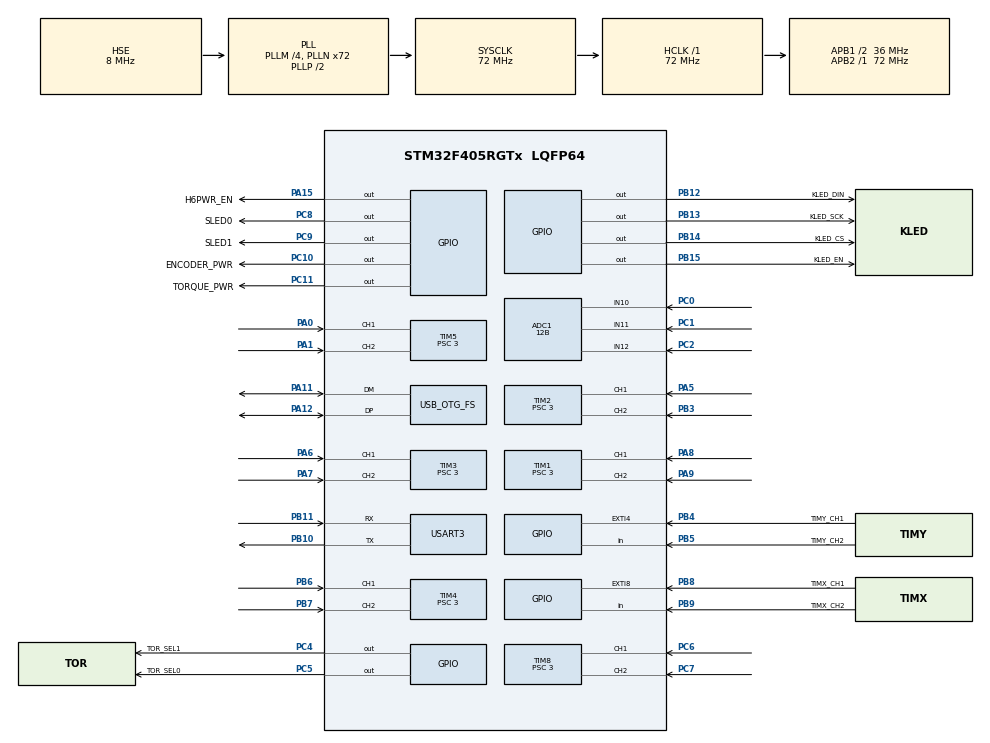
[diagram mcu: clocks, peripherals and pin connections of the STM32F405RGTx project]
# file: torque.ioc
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ADC1.Channel-0\#ChannelRegularConversion=ADC_CHANNEL_10
ADC1.Channel-1\#ChannelRegularConversion=ADC_CHANNEL_11
ADC1.Channel-2\#ChannelRegularConversion=ADC_CHANNEL_12
ADC1.ClockPrescaler=ADC_CLOCK_SYNC_PCLK_DIV4
ADC1.ContinuousConvMode=DISABLE
ADC1.DMAContinuousRequests=DISABLE
ADC1.DataAlign=ADC_DATAALIGN_RIGHT
ADC1.DiscontinuousConvMode=ENABLE
ADC1.EOCSelection=ADC_EOC_SINGLE_CONV
ADC1.EnableAnalogWatchDog=false
ADC1.ExternalTrigConv=ADC_SOFTWARE_START
ADC1.ExternalTrigConvEdge=ADC_EXTERNALTRIGCONVEDGE_NONE
ADC1.InjNumberOfConversion=0
ADC1.NbrOfConversion=3
ADC1.NbrOfConversionFlag=1
ADC1.NbrOfDiscConversion=1
ADC1.Rank-0\#ChannelRegularConversion=1
ADC1.Rank-1\#ChannelRegularConversion=2
ADC1.Rank-2\#ChannelRegularConversion=3
ADC1.Resolution=ADC_RESOLUTION_12B
ADC1.SamplingTime-0\#ChannelRegularConversion=ADC_SAMPLETIME_28CYCLES
ADC1.SamplingTime-1\#ChannelRegularConversion=ADC_SAMPLETIME_28CYCLES
ADC1.SamplingTime-2\#ChannelRegularConversion=ADC_SAMPLETIME_28CYCLES
ADC1.ScanConvMode=ENABLE
ADC1.master=1
IWDG.Prescaler=IWDG_PRESCALER_16
Mcu.Family=STM32F4
Mcu.Name=STM32F405RGTx
Mcu.Package=LQFP64
NVIC.EXTI4_IRQn=true\:0\:0\:false\:false\:true\:true
NVIC.EXTI9_5_IRQn=true\:0\:0\:false\:false\:true\:true
NVIC.PriorityGroup=NVIC_PRIORITYGROUP_2
NVIC.TIM6_DAC_IRQn=true\:1\:0\:true\:false\:true\:true
NVIC.TIM7_IRQn=true\:1\:0\:true\:false\:true\:true
NVIC.USART3_IRQn=true\:0\:0\:false\:false\:true\:true
PA0-WKUP.Signal=S_TIM5_CH1
PA1.Signal=S_TIM5_CH2
PA11.Mode=Device_Only
PA11.Signal=USB_OTG_FS_DM
PA12.Mode=Device_Only
PA12.Signal=USB_OTG_FS_DP
PA13.Mode=Serial_Wire
PA13.Signal=SYS_JTMS-SWDIO
PA14.Mode=Serial_Wire
PA14.Signal=SYS_JTCK-SWCLK
PA15.GPIO_Label=H6PWR_EN
PA15.Signal=GPIO_Output
PA5.Signal=S_TIM2_CH1_ETR
PA6.Signal=S_TIM3_CH1
PA7.Signal=S_TIM3_CH2
PA8.Signal=S_TIM1_CH1
PA9.Signal=S_TIM1_CH2
PB10.Mode=Asynchronous
PB10.Signal=USART3_TX
PB11.Mode=Asynchronous
PB11.Signal=USART3_RX
PB12.GPIO_Label=KLED_DIN
PB12.Signal=GPIO_Output
PB13.GPIO_Label=KLED_SCK
PB13.Signal=GPIO_Output
PB14.GPIO_Label=KLED_CS
PB14.Signal=GPIO_Output
PB15.GPIO_Label=KLED_EN
PB15.Signal=GPIO_Output
PB3.Signal=S_TIM2_CH2
PB4.GPIO_Label=TIMY_CH1
PB4.Signal=GPXTI4
PB5.GPIO_Label=TIMY_CH2
PB5.Signal=GPIO_Input
PB6.Signal=S_TIM4_CH1
PB7.Signal=S_TIM4_CH2
PB8.GPIO_Label=TIMX_CH1
PB8.Signal=GPXTI8
PB9.GPIO_Label=TIMX_CH2
PB9.Signal=GPIO_Input
PC0.Signal=ADCx_IN10
PC1.Signal=ADCx_IN11
PC10.GPIO_Label=ENCODER_PWR
PC10.Signal=GPIO_Output
PC11.GPIO_Label=TORQUE_PWR
PC11.Signal=GPIO_Output
PC2.Signal=ADCx_IN12
PC4.GPIO_Label=TOR_SEL1
PC4.GPIO_Speed=GPIO_SPEED_FREQ_HIGH
PC4.Signal=GPIO_Output
PC5.GPIO_Label=TOR_SEL0
PC5.GPIO_Speed=GPIO_SPEED_FREQ_HIGH
PC5.Signal=GPIO_Output
PC6.Signal=S_TIM8_CH1
PC7.Signal=S_TIM8_CH2
PC8.GPIO_Label=SLED0
PC8.Signal=GPIO_Output
PC9.GPIO_Label=SLED1
PC9.Signal=GPIO_Output
PH0-OSC_IN.Mode=HSE-External-Oscillator
PH0-OSC_IN.Signal=RCC_OSC_IN
PH1-OSC_OUT.Mode=HSE-External-Oscillator
PH1-OSC_OUT.Signal=RCC_OSC_OUT
ProjectManager.HeapSize=0x200
ProjectManager.StackSize=0x400
ProjectManager.TargetToolchain=MDK-ARM V5
RCC.48MHZClocksFreq_Value=48000000
RCC.AHBFreq_Value=72000000
RCC.APB1CLKDivider=RCC_HCLK_DIV2
RCC.APB1Freq_Value=36000000
RCC.APB1TimFreq_Value=72000000
RCC.APB2Freq_Value=72000000
RCC.APB2TimFreq_Value=72000000
RCC.CortexFreq_Value=72000000
RCC.HCLKFreq_Value=72000000
RCC.HSE_VALUE=8000000
RCC.HSI_VALUE=16000000
RCC.LSE_VALUE=32768
RCC.PLLM=4
RCC.PLLN=72
RCC.PLLQ=3
RCC.SYSCLKFreq_VALUE=72000000
RCC.SYSCLKSource=RCC_SYSCLKSOURCE_PLLCLK
RCC.VCOOutputFreq_Value=144000000
SH.ADCx_IN10.0=ADC1_IN10,IN10
SH.ADCx_IN11.0=ADC1_IN11,IN11
SH.ADCx_IN12.0=ADC1_IN12,IN12
SH.S_TIM1_CH1.0=TIM1_CH1,Encoder_Interface
SH.S_TIM1_CH2.0=TIM1_CH2,Encoder_Interface
SH.S_TIM2_CH1_ETR.0=TIM2_CH1,Encoder_Interface
SH.S_TIM2_CH2.0=TIM2_CH2,Encoder_Interface
SH.S_TIM3_CH1.0=TIM3_CH1,Encoder_Interface
SH.S_TIM3_CH2.0=TIM3_CH2,Encoder_Interface
SH.S_TIM4_CH1.0=TIM4_CH1,Encoder_Interface
SH.S_TIM4_CH2.0=TIM4_CH2,Encoder_Interface
SH.S_TIM5_CH1.0=TIM5_CH1,Encoder_Interface
SH.S_TIM5_CH2.0=TIM5_CH2,Encoder_Interface
SH.S_TIM8_CH1.0=TIM8_CH1,Encoder_Interface
SH.S_TIM8_CH2.0=TIM8_CH2,Encoder_Interface
TIM1.EncoderMode=TIM_ENCODERMODE_TI12
TIM1.IC1Filter=10
TIM1.IC2Filter=10
TIM1.Period=65535
TIM1.Prescaler=3
TIM2.EncoderMode=TIM_ENCODERMODE_TI12
TIM2.IC1Filter=10
TIM2.IC2Filter=10
TIM2.Period=65535
TIM2.Prescaler=3
TIM3.EncoderMode=TIM_ENCODERMODE_TI12
TIM3.IC1Filter=10
TIM3.IC2Filter=10
TIM3.Period=65535
TIM3.Prescaler=3
TIM4.EncoderMode=TIM_ENCODERMODE_TI12
TIM4.IC1Filter=10
TIM4.IC2Filter=10
TIM4.Period=65535
TIM4.Prescaler=3
TIM5.EncoderMode=TIM_ENCODERMODE_TI12
TIM5.IC1Filter=10
TIM5.IC2Filter=10
TIM5.Period=65535
TIM5.Prescaler=3
TIM6.Period=10000-1
TIM6.Prescaler=7200-1
TIM7.Period=10000-1
TIM7.Prescaler=7200-1
TIM8.EncoderMode=TIM_ENCODERMODE_TI12
TIM8.IC1Filter=10
TIM8.IC2Filter=10
TIM8.Period=65535
TIM8.Prescaler=3
USART3.VirtualMode=VM_ASYNC
USB_OTG_FS.VirtualMode=Device_Only
VP_IWDG_VS_IWDG.Mode=IWDG_Activate
VP_TIM6_VS_ClockSourceINT.Mode=Enable_Timer
VP_TIM7_VS_ClockSourceINT.Mode=Enable_Timer
board=torque

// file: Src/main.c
/**
  ******************************************************************************
  * File Name          : main.c
  * Description        : Main program body
  ******************************************************************************
  ** This notice applies to any and all portions of this file
  * that are not between comment pairs USER CODE BEGIN and
  * USER CODE END. Other portions of this file, whether
  * inserted by the user or by software development tools
  * are owned by their respective copyright owners.
  *
  * COPYRIGHT(c) 2019 STMicroelectronics
  *
  * Redistribution and use in source and binary forms, with or without modification,
  * are permitted provided that the following conditions are met:
  *   1. Redistributions of source code must retain the above copyright notice,
  *      this list of conditions and the following disclaimer.
  *   2. Redistributions in binary form must reproduce the above copyright notice,
  *      this list of conditions and the following disclaimer in the documentation
  *      and/or other materials provided with the distribution.
  *   3. Neither the name of STMicroelectronics nor the names of its contributors
  *      may be used to endorse or promote products derived from this software
  *      without specific prior written permission.
  *
  * THIS SOFTWARE IS PROVIDED BY THE COPYRIGHT HOLDERS AND CONTRIBUTORS "AS IS"
  * AND ANY EXPRESS OR IMPLIED WARRANTIES, INCLUDING, BUT NOT LIMITED TO, THE
  * IMPLIED WARRANTIES OF MERCHANTABILITY AND FITNESS FOR A PARTICULAR PURPOSE ARE
  * DISCLAIMED. IN NO EVENT SHALL THE COPYRIGHT HOLDER OR CONTRIBUTORS BE LIABLE
  * FOR ANY DIRECT, INDIRECT, INCIDENTAL, SPECIAL, EXEMPLARY, OR CONSEQUENTIAL
  * DAMAGES (INCLUDING, BUT NOT LIMITED TO, PROCUREMENT OF SUBSTITUTE GOODS OR
  * SERVICES; LOSS OF USE, DATA, OR PROFITS; OR BUSINESS INTERRUPTION) HOWEVER
  * CAUSED AND ON ANY THEORY OF LIABILITY, WHETHER IN CONTRACT, STRICT LIABILITY,
  * OR TORT (INCLUDING NEGLIGENCE OR OTHERWISE) ARISING IN ANY WAY OUT OF THE USE
  * OF THIS SOFTWARE, EVEN IF ADVISED OF THE POSSIBILITY OF SUCH DAMAGE.
  *
  ******************************************************************************
  */

#include "main.h"
#include "stm32f4xx_hal.h"

/* USER CODE BEGIN Includes */
#include "crc.h"
/* USER CODE END Includes */

ADC_HandleTypeDef hadc1;

IWDG_HandleTypeDef hiwdg;

TIM_HandleTypeDef htim1;
TIM_HandleTypeDef htim2;
TIM_HandleTypeDef htim3;
TIM_HandleTypeDef htim4;
TIM_HandleTypeDef htim5;
TIM_HandleTypeDef htim6;
TIM_HandleTypeDef htim7;
TIM_HandleTypeDef htim8;

UART_HandleTypeDef huart3;

PCD_HandleTypeDef hpcd_USB_OTG_FS;

/* USER CODE BEGIN PV */
/* Private variables ---------------------------------------------------------*/
struct TorqueSensor Sensor[8];

uint16_t FrequencyEncoder=1;  //单位Hz
uint16_t FrequencyTorque=10;		//单位Hz

unsigned char RsPoint_USART3=0;	//数据计数
unsigned char RsBuf_USART3[64];  //接收缓冲区
unsigned char Received_USART3=0;      //接收标志

uint16_t CrcCode;

uint32_t a,b;

uint16_t	IndexEncoder=0;
uint16_t  IndexTorque=0;

/* USER CODE END PV */

void SystemClock_Config(void);
static void MX_GPIO_Init(void);
static void MX_ADC1_Init(void);
static void MX_USB_OTG_FS_PCD_Init(void);
static void MX_TIM4_Init(void);
static void MX_TIM8_Init(void);
static void MX_TIM6_Init(void);
static void MX_TIM7_Init(void);
static void MX_USART3_UART_Init(void);
static void MX_TIM1_Init(void);
static void MX_TIM2_Init(void);
static void MX_TIM3_Init(void);
static void MX_TIM5_Init(void);
static void MX_IWDG_Init(void);

/* USER CODE BEGIN PFP */
/* Private function prototypes -----------------------------------------------*/

/* USER CODE END PFP */

int main(void)
{

  /* MCU Configuration----------------------------------------------------------*/

  /* Reset of all peripherals, Initializes the Flash interface and the Systick. */
  HAL_Init();

  /* Configure the system clock */
  SystemClock_Config();

  /* Initialize all configured peripherals */
  MX_GPIO_Init();
  MX_ADC1_Init();
  MX_USB_OTG_FS_PCD_Init();
  MX_TIM4_Init();
  MX_TIM8_Init();
  MX_TIM6_Init();
  MX_TIM7_Init();
  MX_USART3_UART_Init();
  MX_TIM1_Init();
  MX_TIM2_Init();
  MX_TIM3_Init();
  MX_TIM5_Init();
  MX_IWDG_Init();

  /* USER CODE BEGIN 2 */
	ENCODER_PWR_ON;
	TORQUE_PWR_ON;
	H6PWR_EN_ON;

	//readFlash();

	//重设tim6、tim7周期
	if (FrequencyEncoder>0 && FrequencyEncoder<=1000)
		htim6.Init.Period = (10000/FrequencyEncoder)-1;
	else
		htim6.Init.Period = (10000/1)-1;
  if (HAL_TIM_Base_Init(&htim6) != HAL_OK)
  {
    _Error_Handler(__FILE__, __LINE__);
  }

	if (FrequencyTorque>0 && FrequencyTorque<=1000)
		htim7.Init.Period = (10000/FrequencyTorque)-1;
	else
		htim7.Init.Period = (10000/100)-1;
  if (HAL_TIM_Base_Init(&htim7) != HAL_OK)
  {
    _Error_Handler(__FILE__, __LINE__);
  }

	__HAL_TIM_SET_COUNTER(&htim6,0);
	HAL_TIM_Base_Start_IT(&htim6);
	__HAL_TIM_SET_COUNTER(&htim7,0);
	HAL_TIM_Base_Start_IT(&htim7);

	__HAL_TIM_SET_COUNTER(&htim1,0);
	HAL_TIM_Encoder_Start(&htim1, TIM_CHANNEL_1); //打开ch7编码器
	__HAL_TIM_SET_COUNTER(&htim2,0);
	HAL_TIM_Encoder_Start(&htim2, TIM_CHANNEL_1); //打开ch8编码器
	__HAL_TIM_SET_COUNTER(&htim3,0);
	HAL_TIM_Encoder_Start(&htim3, TIM_CHANNEL_1); //打开ch4编码器
	__HAL_TIM_SET_COUNTER(&htim4,0);
	HAL_TIM_Encoder_Start(&htim4, TIM_CHANNEL_1); //打开ch7编码器
	__HAL_TIM_SET_COUNTER(&htim5,0);
	HAL_TIM_Encoder_Start(&htim5, TIM_CHANNEL_1); //打开ch8编码器
	__HAL_TIM_SET_COUNTER(&htim8,0);
	HAL_TIM_Encoder_Start(&htim8, TIM_CHANNEL_1); //打开ch4编码器

	__HAL_UART_ENABLE_IT(&huart3, UART_IT_RXNE);
	__HAL_UART_ENABLE_IT(&huart3, UART_IT_IDLE);

	//开看门狗
	HAL_IWDG_Refresh(&hiwdg);

	LED1_OFF;
  /* USER CODE END 2 */

  /* Infinite loop */
  while (1)
  {

  /* USER CODE BEGIN 3 */
		//刷新看门狗
		HAL_IWDG_Refresh(&hiwdg);

		if (Received_USART3==1){
			if (RsPoint_USART3>=8){
				if (RsBuf_USART3[RsPoint_USART3-8]==0x55 && RsBuf_USART3[RsPoint_USART3-7]==0xAA){

					CrcCode=Get_Crc16(&RsBuf_USART3[RsPoint_USART3-6],4);
					if (CrcCode==(((uint16_t )RsBuf_USART3[RsPoint_USART3-2])<<8|RsBuf_USART3[RsPoint_USART3-1])){
						unsigned char SendMsg[8];
						unsigned char i;

						FrequencyEncoder=((uint16_t)RsBuf_USART3[RsPoint_USART3-6])<<8 | RsBuf_USART3[RsPoint_USART3-5];
						FrequencyTorque=((uint16_t)RsBuf_USART3[RsPoint_USART3-4])<<8 | RsBuf_USART3[RsPoint_USART3-3];

						writeFlash();

						//重设tim6、tim7周期
						if (FrequencyEncoder>0 && FrequencyEncoder<=1000)
							htim6.Init.Period = (10000/FrequencyEncoder)-1;
						else
							htim6.Init.Period = (10000/1)-1;
						if (HAL_TIM_Base_Init(&htim6) != HAL_OK)
						{
							_Error_Handler(__FILE__, __LINE__);
						}

						if (FrequencyTorque>0 && FrequencyTorque<=1000)
							htim7.Init.Period = (10000/FrequencyTorque)-1;
						else
							htim7.Init.Period = (10000/100)-1;
						if (HAL_TIM_Base_Init(&htim7) != HAL_OK)
						{
							_Error_Handler(__FILE__, __LINE__);
						}

						for (i=0;i<8;i++){
							SendMsg[i]=RsBuf_USART3[RsPoint_USART3-8+i];
						}
						USART3_Send(SendMsg,8);
					}
				}
			}
			//清接收标记
			Received_USART3=0;
			RsPoint_USART3=0;
		}

  }
  /* USER CODE END 3 */

}

/** System Clock Configuration
*/
void SystemClock_Config(void)
{

  RCC_OscInitTypeDef RCC_OscInitStruct;
  RCC_ClkInitTypeDef RCC_ClkInitStruct;

    /**Configure the main internal regulator output voltage
    */
  __HAL_RCC_PWR_CLK_ENABLE();

  __HAL_PWR_VOLTAGESCALING_CONFIG(PWR_REGULATOR_VOLTAGE_SCALE1);

    /**Initializes the CPU, AHB and APB busses clocks
    */
  RCC_OscInitStruct.OscillatorType = RCC_OSCILLATORTYPE_LSI|RCC_OSCILLATORTYPE_HSE;
  RCC_OscInitStruct.HSEState = RCC_HSE_ON;
  RCC_OscInitStruct.LSIState = RCC_LSI_ON;
  RCC_OscInitStruct.PLL.PLLState = RCC_PLL_ON;
  RCC_OscInitStruct.PLL.PLLSource = RCC_PLLSOURCE_HSE;
  RCC_OscInitStruct.PLL.PLLM = 4;
  RCC_OscInitStruct.PLL.PLLN = 72;
  RCC_OscInitStruct.PLL.PLLP = RCC_PLLP_DIV2;
  RCC_OscInitStruct.PLL.PLLQ = 3;
  if (HAL_RCC_OscConfig(&RCC_OscInitStruct) != HAL_OK)
  {
    _Error_Handler(__FILE__, __LINE__);
  }

    /**Initializes the CPU, AHB and APB busses clocks
    */
  RCC_ClkInitStruct.ClockType = RCC_CLOCKTYPE_HCLK|RCC_CLOCKTYPE_SYSCLK
                              |RCC_CLOCKTYPE_PCLK1|RCC_CLOCKTYPE_PCLK2;
  RCC_ClkInitStruct.SYSCLKSource = RCC_SYSCLKSOURCE_PLLCLK;
  RCC_ClkInitStruct.AHBCLKDivider = RCC_SYSCLK_DIV1;
  RCC_ClkInitStruct.APB1CLKDivider = RCC_HCLK_DIV2;
  RCC_ClkInitStruct.APB2CLKDivider = RCC_HCLK_DIV1;

  if (HAL_RCC_ClockConfig(&RCC_ClkInitStruct, FLASH_LATENCY_2) != HAL_OK)
  {
    _Error_Handler(__FILE__, __LINE__);
  }

    /**Configure the Systick interrupt time
    */
  HAL_SYSTICK_Config(HAL_RCC_GetHCLKFreq()/1000);

    /**Configure the Systick
    */
  HAL_SYSTICK_CLKSourceConfig(SYSTICK_CLKSOURCE_HCLK);

  /* SysTick_IRQn interrupt configuration */
  HAL_NVIC_SetPriority(SysTick_IRQn, 0, 0);
}

/* ADC1 init function */
static void MX_ADC1_Init(void)
{

  ADC_ChannelConfTypeDef sConfig;

    /**Configure the global features of the ADC (Clock, Resolution, Data Alignment and number of conversion)
    */
  hadc1.Instance = ADC1;
  hadc1.Init.ClockPrescaler = ADC_CLOCK_SYNC_PCLK_DIV4;
  hadc1.Init.Resolution = ADC_RESOLUTION_12B;
  hadc1.Init.ScanConvMode = ENABLE;
  hadc1.Init.ContinuousConvMode = DISABLE;
  hadc1.Init.DiscontinuousConvMode = ENABLE;
  hadc1.Init.NbrOfDiscConversion = 1;
  hadc1.Init.ExternalTrigConvEdge = ADC_EXTERNALTRIGCONVEDGE_NONE;
  hadc1.Init.ExternalTrigConv = ADC_SOFTWARE_START;
  hadc1.Init.DataAlign = ADC_DATAALIGN_RIGHT;
  hadc1.Init.NbrOfConversion = 3;
  hadc1.Init.DMAContinuousRequests = DISABLE;
  hadc1.Init.EOCSelection = ADC_EOC_SINGLE_CONV;
  if (HAL_ADC_Init(&hadc1) != HAL_OK)
  {
    _Error_Handler(__FILE__, __LINE__);
  }

    /**Configure for the selected ADC regular channel its corresponding rank in the sequencer and its sample time.
    */
  sConfig.Channel = ADC_CHANNEL_10;
  sConfig.Rank = 1;
  sConfig.SamplingTime = ADC_SAMPLETIME_28CYCLES;
  if (HAL_ADC_ConfigChannel(&hadc1, &sConfig) != HAL_OK)
  {
    _Error_Handler(__FILE__, __LINE__);
  }

    /**Configure for the selected ADC regular channel its corresponding rank in the sequencer and its sample time.
    */
  sConfig.Channel = ADC_CHANNEL_11;
  sConfig.Rank = 2;
  if (HAL_ADC_ConfigChannel(&hadc1, &sConfig) != HAL_OK)
  {
    _Error_Handler(__FILE__, __LINE__);
  }

    /**Configure for the selected ADC regular channel its corresponding rank in the sequencer and its sample time.
    */
  sConfig.Channel = ADC_CHANNEL_12;
  sConfig.Rank = 3;
  if (HAL_ADC_ConfigChannel(&hadc1, &sConfig) != HAL_OK)
  {
    _Error_Handler(__FILE__, __LINE__);
  }

}

/* IWDG init function */
static void MX_IWDG_Init(void)
{

  hiwdg.Instance = IWDG;
  hiwdg.Init.Prescaler = IWDG_PRESCALER_16;
  hiwdg.Init.Reload = 4095;
  if (HAL_IWDG_Init(&hiwdg) != HAL_OK)
  {
    _Error_Handler(__FILE__, __LINE__);
  }

}

/* TIM1 init function */
static void MX_TIM1_Init(void)
{

  TIM_Encoder_InitTypeDef sConfig;
  TIM_MasterConfigTypeDef sMasterConfig;

  htim1.Instance = TIM1;
  htim1.Init.Prescaler = 0;
  htim1.Init.CounterMode = TIM_COUNTERMODE_UP;
  htim1.Init.Period = 65535;
  htim1.Init.ClockDivision = TIM_CLOCKDIVISION_DIV1;
  htim1.Init.RepetitionCounter = 0;
  sConfig.EncoderMode = TIM_ENCODERMODE_TI1;
  sConfig.IC1Polarity = TIM_ICPOLARITY_FALLING;
  sConfig.IC1Selection = TIM_ICSELECTION_DIRECTTI;
  sConfig.IC1Prescaler = TIM_ICPSC_DIV1;
  sConfig.IC1Filter = 10;
  sConfig.IC2Polarity = TIM_ICPOLARITY_FALLING;
  sConfig.IC2Selection = TIM_ICSELECTION_DIRECTTI;
  sConfig.IC2Prescaler = TIM_ICPSC_DIV1;
  sConfig.IC2Filter = 10;
  if (HAL_TIM_Encoder_Init(&htim1, &sConfig) != HAL_OK)
  {
    _Error_Handler(__FILE__, __LINE__);
  }

  sMasterConfig.MasterOutputTrigger = TIM_TRGO_RESET;
  sMasterConfig.MasterSlaveMode = TIM_MASTERSLAVEMODE_DISABLE;
  if (HAL_TIMEx_MasterConfigSynchronization(&htim1, &sMasterConfig) != HAL_OK)
  {
    _Error_Handler(__FILE__, __LINE__);
  }

}

/* TIM2 init function */
static void MX_TIM2_Init(void)
{

  TIM_Encoder_InitTypeDef sConfig;
  TIM_MasterConfigTypeDef sMasterConfig;

  htim2.Instance = TIM2;
  htim2.Init.Prescaler = 0;
  htim2.Init.CounterMode = TIM_COUNTERMODE_UP;
  htim2.Init.Period = 65535;
  htim2.Init.ClockDivision = TIM_CLOCKDIVISION_DIV1;
  sConfig.EncoderMode = TIM_ENCODERMODE_TI1;
  sConfig.IC1Polarity = TIM_ICPOLARITY_FALLING;
  sConfig.IC1Selection = TIM_ICSELECTION_DIRECTTI;
  sConfig.IC1Prescaler = TIM_ICPSC_DIV1;
  sConfig.IC1Filter = 1;
  sConfig.IC2Polarity = TIM_ICPOLARITY_FALLING;
  sConfig.IC2Selection = TIM_ICSELECTION_DIRECTTI;
  sConfig.IC2Prescaler = TIM_ICPSC_DIV1;
  sConfig.IC2Filter = 1;
  if (HAL_TIM_Encoder_Init(&htim2, &sConfig) != HAL_OK)
  {
    _Error_Handler(__FILE__, __LINE__);
  }

  sMasterConfig.MasterOutputTrigger = TIM_TRGO_RESET;
  sMasterConfig.MasterSlaveMode = TIM_MASTERSLAVEMODE_DISABLE;
  if (HAL_TIMEx_MasterConfigSynchronization(&htim2, &sMasterConfig) != HAL_OK)
  {
    _Error_Handler(__FILE__, __LINE__);
  }

}

/* TIM3 init function */
static void MX_TIM3_Init(void)
{

  TIM_Encoder_InitTypeDef sConfig;
  TIM_MasterConfigTypeDef sMasterConfig;

  htim3.Instance = TIM3;
  htim3.Init.Prescaler = 0;
  htim3.Init.CounterMode = TIM_COUNTERMODE_UP;
  htim3.Init.Period = 65535;
  htim3.Init.ClockDivision = TIM_CLOCKDIVISION_DIV1;
  sConfig.EncoderMode = TIM_ENCODERMODE_TI1;
  sConfig.IC1Polarity = TIM_ICPOLARITY_FALLING;
  sConfig.IC1Selection = TIM_ICSELECTION_DIRECTTI;
  sConfig.IC1Prescaler = TIM_ICPSC_DIV1;
  sConfig.IC1Filter = 1;
  sConfig.IC2Polarity = TIM_ICPOLARITY_FALLING;
  sConfig.IC2Selection = TIM_ICSELECTION_DIRECTTI;
  sConfig.IC2Prescaler = TIM_ICPSC_DIV1;
  sConfig.IC2Filter = 1;
  if (HAL_TIM_Encoder_Init(&htim3, &sConfig) != HAL_OK)
  {
    _Error_Handler(__FILE__, __LINE__);
  }

  sMasterConfig.MasterOutputTrigger = TIM_TRGO_RESET;
  sMasterConfig.MasterSlaveMode = TIM_MASTERSLAVEMODE_DISABLE;
  if (HAL_TIMEx_MasterConfigSynchronization(&htim3, &sMasterConfig) != HAL_OK)
  {
    _Error_Handler(__FILE__, __LINE__);
  }

}

/* TIM4 init function */
static void MX_TIM4_Init(void)
{

  TIM_Encoder_InitTypeDef sConfig;
  TIM_MasterConfigTypeDef sMasterConfig;

  htim4.Instance = TIM4;
  htim4.Init.Prescaler = 0;
  htim4.Init.CounterMode = TIM_COUNTERMODE_UP;
  htim4.Init.Period = 65535;
  htim4.Init.ClockDivision = TIM_CLOCKDIVISION_DIV1;
  sConfig.EncoderMode = TIM_ENCODERMODE_TI1;
  sConfig.IC1Polarity = TIM_ICPOLARITY_FALLING;
  sConfig.IC1Selection = TIM_ICSELECTION_DIRECTTI;
  sConfig.IC1Prescaler = TIM_ICPSC_DIV1;
  sConfig.IC1Filter = 1;
  sConfig.IC2Polarity = TIM_ICPOLARITY_FALLING;
  sConfig.IC2Selection = TIM_ICSELECTION_DIRECTTI;
  sConfig.IC2Prescaler = TIM_ICPSC_DIV1;
  sConfig.IC2Filter = 1;
  if (HAL_TIM_Encoder_Init(&htim4, &sConfig) != HAL_OK)
  {
    _Error_Handler(__FILE__, __LINE__);
  }

  sMasterConfig.MasterOutputTrigger = TIM_TRGO_RESET;
  sMasterConfig.MasterSlaveMode = TIM_MASTERSLAVEMODE_DISABLE;
  if (HAL_TIMEx_MasterConfigSynchronization(&htim4, &sMasterConfig) != HAL_OK)
  {
    _Error_Handler(__FILE__, __LINE__);
  }

}

/* TIM5 init function */
static void MX_TIM5_Init(void)
{

  TIM_Encoder_InitTypeDef sConfig;
  TIM_MasterConfigTypeDef sMasterConfig;

  htim5.Instance = TIM5;
  htim5.Init.Prescaler = 0;
  htim5.Init.CounterMode = TIM_COUNTERMODE_UP;
  htim5.Init.Period = 65535;
  htim5.Init.ClockDivision = TIM_CLOCKDIVISION_DIV1;
  sConfig.EncoderMode = TIM_ENCODERMODE_TI1;
  sConfig.IC1Polarity = TIM_ICPOLARITY_FALLING;
  sConfig.IC1Selection = TIM_ICSELECTION_DIRECTTI;
  sConfig.IC1Prescaler = TIM_ICPSC_DIV1;
  sConfig.IC1Filter = 1;
  sConfig.IC2Polarity = TIM_ICPOLARITY_FALLING;
  sConfig.IC2Selection = TIM_ICSELECTION_DIRECTTI;
  sConfig.IC2Prescaler = TIM_ICPSC_DIV1;
  sConfig.IC2Filter = 1;
  if (HAL_TIM_Encoder_Init(&htim5, &sConfig) != HAL_OK)
  {
    _Error_Handler(__FILE__, __LINE__);
  }

  sMasterConfig.MasterOutputTrigger = TIM_TRGO_RESET;
  sMasterConfig.MasterSlaveMode = TIM_MASTERSLAVEMODE_DISABLE;
  if (HAL_TIMEx_MasterConfigSynchronization(&htim5, &sMasterConfig) != HAL_OK)
  {
    _Error_Handler(__FILE__, __LINE__);
  }

}

/* TIM6 init function */
static void MX_TIM6_Init(void)
{

  TIM_MasterConfigTypeDef sMasterConfig;

  htim6.Instance = TIM6;
  htim6.Init.Prescaler = 7200-1;
  htim6.Init.CounterMode = TIM_COUNTERMODE_UP;
  htim6.Init.Period = 10000-1;
  if (HAL_TIM_Base_Init(&htim6) != HAL_OK)
  {
    _Error_Handler(__FILE__, __LINE__);
  }

  sMasterConfig.MasterOutputTrigger = TIM_TRGO_RESET;
  sMasterConfig.MasterSlaveMode = TIM_MASTERSLAVEMODE_DISABLE;
  if (HAL_TIMEx_MasterConfigSynchronization(&htim6, &sMasterConfig) != HAL_OK)
  {
    _Error_Handler(__FILE__, __LINE__);
  }

}

/* TIM7 init function */
static void MX_TIM7_Init(void)
{

  TIM_MasterConfigTypeDef sMasterConfig;

  htim7.Instance = TIM7;
  htim7.Init.Prescaler = 7200-1;
  htim7.Init.CounterMode = TIM_COUNTERMODE_UP;
  htim7.Init.Period = 10000-1;
  if (HAL_TIM_Base_Init(&htim7) != HAL_OK)
  {
    _Error_Handler(__FILE__, __LINE__);
  }

  sMasterConfig.MasterOutputTrigger = TIM_TRGO_RESET;
  sMasterConfig.MasterSlaveMode = TIM_MASTERSLAVEMODE_DISABLE;
  if (HAL_TIMEx_MasterConfigSynchronization(&htim7, &sMasterConfig) != HAL_OK)
  {
    _Error_Handler(__FILE__, __LINE__);
  }

}

/* TIM8 init function */
static void MX_TIM8_Init(void)
{

  TIM_Encoder_InitTypeDef sConfig;
  TIM_MasterConfigTypeDef sMasterConfig;

  htim8.Instance = TIM8;
  htim8.Init.Prescaler = 0;
  htim8.Init.CounterMode = TIM_COUNTERMODE_UP;
  htim8.Init.Period = 65535;
  htim8.Init.ClockDivision = TIM_CLOCKDIVISION_DIV1;
  htim8.Init.RepetitionCounter = 0;
  sConfig.EncoderMode = TIM_ENCODERMODE_TI1;
  sConfig.IC1Polarity = TIM_ICPOLARITY_FALLING;
  sConfig.IC1Selection = TIM_ICSELECTION_DIRECTTI;
  sConfig.IC1Prescaler = TIM_ICPSC_DIV1;
  sConfig.IC1Filter = 1;
  sConfig.IC2Polarity = TIM_ICPOLARITY_FALLING;
  sConfig.IC2Selection = TIM_ICSELECTION_DIRECTTI;
  sConfig.IC2Prescaler = TIM_ICPSC_DIV1;
  sConfig.IC2Filter = 1;
  if (HAL_TIM_Encoder_Init(&htim8, &sConfig) != HAL_OK)
  {
    _Error_Handler(__FILE__, __LINE__);
  }

  sMasterConfig.MasterOutputTrigger = TIM_TRGO_RESET;
  sMasterConfig.MasterSlaveMode = TIM_MASTERSLAVEMODE_DISABLE;
  if (HAL_TIMEx_MasterConfigSynchronization(&htim8, &sMasterConfig) != HAL_OK)
  {
    _Error_Handler(__FILE__, __LINE__);
  }

}

/* USART3 init function */
static void MX_USART3_UART_Init(void)
{

  huart3.Instance = USART3;
  huart3.Init.BaudRate = 115200;
  huart3.Init.WordLength = UART_WORDLENGTH_8B;
  huart3.Init.StopBits = UART_STOPBITS_1;
  huart3.Init.Parity = UART_PARITY_NONE;
  huart3.Init.Mode = UART_MODE_TX_RX;
  huart3.Init.HwFlowCtl = UART_HWCONTROL_NONE;
  huart3.Init.OverSampling = UART_OVERSAMPLING_16;
  if (HAL_UART_Init(&huart3) != HAL_OK)
  {
    _Error_Handler(__FILE__, __LINE__);
  }

}

/* USB_OTG_FS init function */
static void MX_USB_OTG_FS_PCD_Init(void)
{

  hpcd_USB_OTG_FS.Instance = USB_OTG_FS;
  hpcd_USB_OTG_FS.Init.dev_endpoints = 4;
  hpcd_USB_OTG_FS.Init.speed = PCD_SPEED_FULL;
  hpcd_USB_OTG_FS.Init.dma_enable = DISABLE;
  hpcd_USB_OTG_FS.Init.ep0_mps = DEP0CTL_MPS_64;
  hpcd_USB_OTG_FS.Init.phy_itface = PCD_PHY_EMBEDDED;
  hpcd_USB_OTG_FS.Init.Sof_enable = DISABLE;
  hpcd_USB_OTG_FS.Init.low_power_enable = DISABLE;
  hpcd_USB_OTG_FS.Init.lpm_enable = DISABLE;
  hpcd_USB_OTG_FS.Init.vbus_sensing_enable = DISABLE;
  hpcd_USB_OTG_FS.Init.use_dedicated_ep1 = DISABLE;
  if (HAL_PCD_Init(&hpcd_USB_OTG_FS) != HAL_OK)
  {
    _Error_Handler(__FILE__, __LINE__);
  }

}

/** Configure pins as
        * Analog
        * Input
        * Output
        * EVENT_OUT
        * EXTI
*/
static void MX_GPIO_Init(void)
{

  GPIO_InitTypeDef GPIO_InitStruct;

  /* GPIO Ports Clock Enable */
  __HAL_RCC_GPIOH_CLK_ENABLE();
  __HAL_RCC_GPIOC_CLK_ENABLE();
  __HAL_RCC_GPIOA_CLK_ENABLE();
  __HAL_RCC_GPIOB_CLK_ENABLE();

  /*Configure GPIO pin Output Level */
  HAL_GPIO_WritePin(GPIOC, TOR_SEL1_Pin|TOR_SEL0_Pin|SLED0_Pin|SLED1_Pin
                          |ENCODER_PWR_Pin|TORQUE_PWR_Pin, GPIO_PIN_RESET);

  /*Configure GPIO pin Output Level */
  HAL_GPIO_WritePin(GPIOB, KLED_DIN_Pin|KLED_SCK_Pin|KLED_CS_Pin|KLED_EN_Pin, GPIO_PIN_RESET);

  /*Configure GPIO pin Output Level */
  HAL_GPIO_WritePin(H6PWR_EN_GPIO_Port, H6PWR_EN_Pin, GPIO_PIN_RESET);

  /*Configure GPIO pins : TOR_SEL1_Pin TOR_SEL0_Pin */
  GPIO_InitStruct.Pin = TOR_SEL1_Pin|TOR_SEL0_Pin;
  GPIO_InitStruct.Mode = GPIO_MODE_OUTPUT_PP;
  GPIO_InitStruct.Pull = GPIO_NOPULL;
  GPIO_InitStruct.Speed = GPIO_SPEED_FREQ_HIGH;
  HAL_GPIO_Init(GPIOC, &GPIO_InitStruct);

  /*Configure GPIO pins : KLED_DIN_Pin KLED_SCK_Pin KLED_CS_Pin KLED_EN_Pin */
  GPIO_InitStruct.Pin = KLED_DIN_Pin|KLED_SCK_Pin|KLED_CS_Pin|KLED_EN_Pin;
  GPIO_InitStruct.Mode = GPIO_MODE_OUTPUT_PP;
  GPIO_InitStruct.Pull = GPIO_NOPULL;
  GPIO_InitStruct.Speed = GPIO_SPEED_FREQ_LOW;
  HAL_GPIO_Init(GPIOB, &GPIO_InitStruct);

  /*Configure GPIO pins : SLED0_Pin SLED1_Pin ENCODER_PWR_Pin TORQUE_PWR_Pin */
  GPIO_InitStruct.Pin = SLED0_Pin|SLED1_Pin|ENCODER_PWR_Pin|TORQUE_PWR_Pin;
  GPIO_InitStruct.Mode = GPIO_MODE_OUTPUT_PP;
  GPIO_InitStruct.Pull = GPIO_NOPULL;
  GPIO_InitStruct.Speed = GPIO_SPEED_FREQ_LOW;
  HAL_GPIO_Init(GPIOC, &GPIO_InitStruct);

  /*Configure GPIO pin : H6PWR_EN_Pin */
  GPIO_InitStruct.Pin = H6PWR_EN_Pin;
  GPIO_InitStruct.Mode = GPIO_MODE_OUTPUT_PP;
  GPIO_InitStruct.Pull = GPIO_NOPULL;
  GPIO_InitStruct.Speed = GPIO_SPEED_FREQ_LOW;
  HAL_GPIO_Init(H6PWR_EN_GPIO_Port, &GPIO_InitStruct);

  /*Configure GPIO pins : TIMY_CH1_Pin TIMX_CH1_Pin */
  GPIO_InitStruct.Pin = TIMY_CH1_Pin|TIMX_CH1_Pin;
  GPIO_InitStruct.Mode = GPIO_MODE_IT_RISING;
  GPIO_InitStruct.Pull = GPIO_NOPULL;
  HAL_GPIO_Init(GPIOB, &GPIO_InitStruct);

  /*Configure GPIO pins : TIMY_CH2_Pin TIMX_CH2_Pin */
  GPIO_InitStruct.Pin = TIMY_CH2_Pin|TIMX_CH2_Pin;
  GPIO_InitStruct.Mode = GPIO_MODE_INPUT;
  GPIO_InitStruct.Pull = GPIO_NOPULL;
  HAL_GPIO_Init(GPIOB, &GPIO_InitStruct);

  /* EXTI interrupt init*/
  HAL_NVIC_SetPriority(EXTI4_IRQn, 0, 0);
  HAL_NVIC_EnableIRQ(EXTI4_IRQn);

  HAL_NVIC_SetPriority(EXTI9_5_IRQn, 0, 0);
  HAL_NVIC_EnableIRQ(EXTI9_5_IRQn);

}

/* USER CODE BEGIN 4 */
void USART3_Putc(unsigned char c)
{
	USART3->DR = (unsigned char)c;
  while((USART3->SR&0X40)==0);
}
void USART3_Send(unsigned char * SendMsg,unsigned char Num)
{
	unsigned char i;
	for(i=0;i<Num;i++)
		USART3_Putc(SendMsg[i]);
}

//FLASH写入
void writeFlash(void)
{
	uint32_t writeFlashData ;
	uint32_t addr = 0x0800C000;

	writeFlashData=(((uint32_t)FrequencyEncoder)<<16) | FrequencyTorque;
	//1、解锁FLASH
  HAL_FLASH_Unlock();

	//2、擦除FLASH
	//初始化FLASH_EraseInitTypeDef
	FLASH_EraseInitTypeDef f;
	f.Banks=0;
	f.NbSectors=1;
	f.Sector=FLASH_SECTOR_3;
	f.TypeErase=FLASH_TYPEERASE_SECTORS;
	f.VoltageRange=FLASH_VOLTAGE_RANGE_3;
	//设置PageError
	uint32_t SectorError = 0;
	//调用擦除函数
	HAL_FLASHEx_Erase(&f, &SectorError);

	//3、对FLASH烧写
	HAL_FLASH_Program(TYPEPROGRAM_WORD, addr, writeFlashData);

	//4、锁住FLASH
  HAL_FLASH_Lock();
}

//FLASH读取数据测试
void readFlash(void)
{
	uint32_t addr = 0x0800C000;
  uint32_t temp = *(__IO uint32_t*)(addr);
	FrequencyEncoder=temp>>16;
	FrequencyTorque=temp;
}

//外部中断回调函数
void HAL_GPIO_EXTI_Callback(uint16_t GPIO_Pin)
{
	//TIMY
	if(GPIO_Pin == GPIO_PIN_8)
  {
		if (ENCODER7_B)
			Sensor[6].PulsCount=(int)Sensor[6].PulsCount-1;
		else
			Sensor[6].PulsCount=(int)Sensor[6].PulsCount+1;
  }
	//TIMX
	if(GPIO_Pin == GPIO_PIN_4)
  {
		if (ENCODER8_B)
			Sensor[7].PulsCount=(int)Sensor[7].PulsCount-1;
		else
			Sensor[7].PulsCount=(int)Sensor[7].PulsCount+1;
  }
}

/* USER CODE END 4 */

void _Error_Handler(char * file, int line)
{
  while(1)
  {
  }
}

/************************ (C) COPYRIGHT STMicroelectronics *****END OF FILE****/
